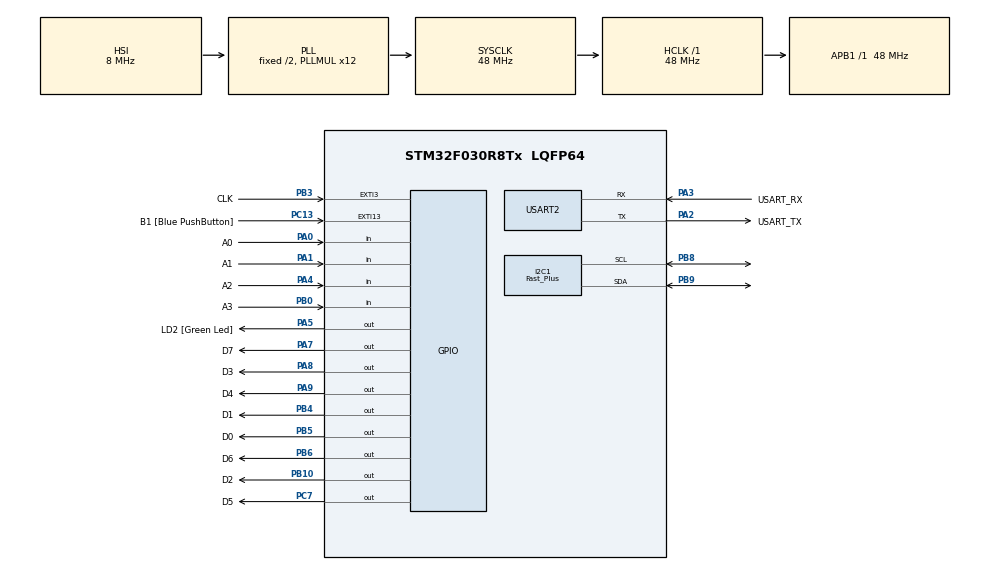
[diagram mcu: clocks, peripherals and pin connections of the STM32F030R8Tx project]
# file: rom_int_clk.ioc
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Mcu.Family=STM32F0
PA2.GPIO_PuPd=GPIO_NOPULL
I2C1.I2C_Speed_Mode=I2C_Fast_Plus
PA14.GPIO_Label=TCK
PA3.GPIO_PuPd=GPIO_NOPULL
PA0.GPIO_Label=A0
PA2.GPIO_Speed=GPIO_SPEED_FREQ_LOW
PB0.GPIO_Label=A3
PB6.GPIO_Label=D6
PC13.GPIO_Label=B1 [Blue PushButton]
PA3.GPIO_Speed=GPIO_SPEED_FREQ_LOW
RCC.SYSCLKSource=RCC_SYSCLKSOURCE_PLLCLK
ProjectManager.StackSize=0x400
RCC.HCLKFreq_Value=48000000
PB6.Signal=GPIO_Output
PC7.Signal=GPIO_Output
RCC.AHBFreq_Value=48000000
USART2.VirtualMode-Asynchronous=VM_ASYNC
RCC.PLLMUL=RCC_PLL_MUL12
PC14-OSC32_IN.Mode=LSE-External-Oscillator
PA14.Mode=Serial_Wire
PA5.GPIO_PuPd=GPIO_NOPULL
PA8.Signal=GPIO_Output
PA0.Signal=GPIO_Input
Mcu.Package=LQFP64
PB9.Signal=I2C1_SDA
PA2.GPIO_Label=USART_TX
PB5.GPIO_Label=D0
RCC.APB1TimFreq_Value=48000000
PA4.GPIO_Label=A2
PF1-OSC_OUT.Signal=RCC_OSC_OUT
PB4.Signal=GPIO_Output
PA3.Signal=USART2_RX
PA2.GPIO_Mode=GPIO_MODE_AF_PP
PB3.GPIO_Label=CLK
PC15-OSC32_OUT.Mode=LSE-External-Oscillator
PC13.Signal=GPXTI13
PA9.GPIO_Label=D4
PC14-OSC32_IN.Signal=RCC_OSC32_IN
PA13.Signal=SYS_SWDIO
PA3.Mode=Asynchronous
PA8.GPIO_Label=D3
ProjectManager.TargetToolchain=STM32CubeIDE
PB10.GPIO_Label=D2
PA3.GPIO_Mode=GPIO_MODE_AF_PP
PB9.Mode=I2C
PA9.Signal=GPIO_Output
I2C1.Timing=0x00000001
PC15-OSC32_OUT.Signal=RCC_OSC32_OUT
PA1.Signal=GPIO_Input
PF0-OSC_IN.Mode=HSE-External-Clock-Source
PB10.Signal=GPIO_Output
PA5.Signal=GPIO_Output
board=NUCLEO-F030R8
NVIC.EXTI2_3_IRQn=true\:0\:0\:false\:false\:true\:true\:true
PB4.GPIO_Label=D1
PA1.GPIO_Label=A1
PA13.Mode=Serial_Wire
Mcu.Name=STM32F030R8Tx
PA13.GPIO_Label=TMS
PA2.Signal=USART2_TX
PC7.GPIO_Label=D5
PB3.Signal=GPXTI3
PA4.Signal=GPIO_Input
RCC.SYSCLKFreq_VALUE=48000000
PB5.Signal=GPIO_Output
PA7.GPIO_Label=D7
PA5.GPIO_Label=LD2 [Green Led]
PC13.GPIO_ModeDefaultEXTI=GPIO_MODE_IT_FALLING
PA14.Signal=SYS_SWCLK
ProjectManager.HeapSize=0x200
PA5.GPIO_Speed=GPIO_SPEED_FREQ_LOW
PB8.Mode=I2C
PA2.Mode=Asynchronous
PB8.Signal=I2C1_SCL
PF0-OSC_IN.Signal=RCC_OSC_IN
RCC.APB1Freq_Value=48000000
PA5.GPIO_Mode=GPIO_MODE_OUTPUT_PP
PB0.Signal=GPIO_Input
PA3.GPIO_Label=USART_RX
PA7.Signal=GPIO_Output

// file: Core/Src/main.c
/* USER CODE BEGIN Header */
/**
  ******************************************************************************
  * @file           : main.c
  * @brief          : Main program body
  ******************************************************************************
  * @attention
  *
  * <h2><center>&copy; Copyright (c) 2021 STMicroelectronics.
  * All rights reserved.</center></h2>
  *
  * This software component is licensed by ST under BSD 3-Clause license,
  * the "License"; You may not use this file except in compliance with the
  * License. You may obtain a copy of the License at:
  *                        opensource.org/licenses/BSD-3-Clause
  *
  ******************************************************************************
  */
/* USER CODE END Header */
#include "main.h"

/* USER CODE BEGIN Includes */
#include <string.h>
#include "td4_rom.h"
#include "PCA9624.h"

/* USER CODE END Includes */

/* USER CODE BEGIN PTD */
typedef uint8_t seg7[7];

/* USER CODE END PTD */

/* USER CODE BEGIN PD */
#define ROM_BASE_ADDRESS    0
#define ROM_DEFAULT_ADDRESS 0

#define I2C_RETRIES         2
#define I2C_TIMEOUT         2

#define LED_PWM_FULL        0xff // PWM = 99.6%
#define LED_PWM_OFF         0    // PWM = 0%
/* USER CODE END PD */

I2C_HandleTypeDef hi2c1;

UART_HandleTypeDef huart2;

/* USER CODE BEGIN PV */
volatile int ticked = 0;
volatile int led_ok = 0;
uint8_t cmd[32];
seg7 hex2seg7[] = { // 0xff は PWM で 99.6% 出力
  { 0xff, 0xff, 0xff, 0xff, 0xff, 0xff, 0x00 }, // 0
  { 0x00, 0xff, 0xff, 0x00, 0x00, 0x00, 0x00 }, // 1
  { 0xff, 0xff, 0x00, 0xff, 0xff, 0x00, 0xff }, // 2
  { 0xff, 0xff, 0xff, 0xff, 0x00, 0x00, 0xff }, // 3
  { 0x00, 0xff, 0xff, 0x00, 0x00, 0xff, 0xff }, // 4
  { 0xff, 0x00, 0xff, 0xff, 0x00, 0xff, 0xff }, // 5
  { 0xff, 0x00, 0xff, 0xff, 0xff, 0xff, 0xff }, // 6
  { 0xff, 0xff, 0xff, 0x00, 0x00, 0x00, 0x00 }, // 7
  { 0xff, 0xff, 0xff, 0xff, 0xff, 0xff, 0xff }, // 8
  { 0xff, 0xff, 0xff, 0xff, 0x00, 0xff, 0xff }, // 9
  { 0xff, 0xff, 0xff, 0xff, 0xff, 0x00, 0xff }, // a
  { 0x00, 0x00, 0xff, 0xff, 0xff, 0xff, 0xff }, // b
  { 0x00, 0x00, 0x00, 0xff, 0xff, 0x00, 0xff }, // c
  { 0x00, 0xff, 0xff, 0xff, 0xff, 0x00, 0xff }, // d
  { 0xff, 0xff, 0x00, 0xff, 0xff, 0xff, 0xff }, // e
  { 0xff, 0x00, 0x00, 0x00, 0xff, 0xff, 0xff }, // f
};

/* USER CODE END PV */

void SystemClock_Config(void);
static void MX_GPIO_Init(void);
static void MX_USART2_UART_Init(void);
static void MX_I2C1_Init(void);

int main(void)
{
  /* USER CODE BEGIN 1 */
  HAL_StatusTypeDef ret;

  /* USER CODE END 1 */

  /* MCU Configuration--------------------------------------------------------*/

  /* Reset of all peripherals, Initializes the Flash interface and the Systick. */
  HAL_Init();

  /* Configure the system clock */
  SystemClock_Config();

  /* Initialize all configured peripherals */
  MX_GPIO_Init();
  MX_USART2_UART_Init();
  MX_I2C1_Init();
  /* USER CODE BEGIN 2 */

  /* PCA9624 */
  ret = HAL_I2C_IsDeviceReady(&hi2c1, PCA9624_ADDR, I2C_RETRIES, I2C_TIMEOUT);
  if (ret == HAL_OK) // PCA9624 から ACK を受信
  {
    cmd[0] = MODE1; // モードレジスタ
    cmd[1] = 0x0;   // SLEEP = 0 で低消費電力モードを解除して通常動作へ
    ret = HAL_I2C_Master_Transmit(&hi2c1, PCA9624_ADDR, cmd, 2, HAL_MAX_DELAY);
    if (ret == HAL_OK)
    {
      cmd[0] = LEDOUT0 + 0x80; // LEDOUT0 オートインクリメント
      cmd[1] = 0xaa;           // LED3,2,1,0 各々の2ビットに 0b10 で PWM点灯を指定
      cmd[2] = 0xaa;           // LED7,6,5,4 各々の2ビットに 0b10 で PWM点灯を指定
      ret = HAL_I2C_Master_Transmit(&hi2c1, PCA9624_ADDR, cmd, 3, HAL_MAX_DELAY);
      if (ret == HAL_OK)
      {
        led_ok = 1; // PCA9624 の初期化完了
      }
    }
  }

  /* USER CODE END 2 */

  /* Infinite loop */
  /* USER CODE BEGIN WHILE */
  while (1)
  {
    static int address = ROM_DEFAULT_ADDRESS;
    /* USER CODE END WHILE */

    /* USER CODE BEGIN 3 */
    if (ticked)
    {
      /* Read demand address for ROM */
      address = ROM_BASE_ADDRESS;
      address += (HAL_GPIO_ReadPin(A0_GPIO_Port, A0_Pin) << 0);
      address += (HAL_GPIO_ReadPin(A1_GPIO_Port, A1_Pin) << 1);
      address += (HAL_GPIO_ReadPin(A2_GPIO_Port, A2_Pin) << 2);
      address += (HAL_GPIO_ReadPin(A3_GPIO_Port, A3_Pin) << 3);
      if (led_ok) // PCA9624
      {
        cmd[0] = PWM0 + 0x80;                  // PWM0 オートインクリメント
        memcpy(&cmd[1], hex2seg7[address], 7); // 7 セグメントの PWM 値を直接設定
        cmd[8] = LED_PWM_FULL;                 // DP は一旦点灯
        ret = HAL_I2C_Master_Transmit(&hi2c1, PCA9624_ADDR, cmd, 9, HAL_MAX_DELAY);
        if (ret != HAL_OK)
        {
          led_ok = 0; // PCA9624 でエラー発生
          // TODO: I2C のリカバリ処理をここで
        }
      }
      ticked = 0;
    }

    /* Update bits of ROM */
    HAL_GPIO_WritePin(D0_GPIO_Port, D0_Pin, rom[address] & 1 << 0);
    HAL_GPIO_WritePin(D1_GPIO_Port, D1_Pin, rom[address] & 1 << 1);
    HAL_GPIO_WritePin(D2_GPIO_Port, D2_Pin, rom[address] & 1 << 2);
    HAL_GPIO_WritePin(D3_GPIO_Port, D3_Pin, rom[address] & 1 << 3);
    HAL_GPIO_WritePin(D4_GPIO_Port, D4_Pin, rom[address] & 1 << 4);
    HAL_GPIO_WritePin(D5_GPIO_Port, D5_Pin, rom[address] & 1 << 5);
    HAL_GPIO_WritePin(D6_GPIO_Port, D6_Pin, rom[address] & 1 << 6);
    HAL_GPIO_WritePin(D7_GPIO_Port, D7_Pin, rom[address] & 1 << 7);
    if (led_ok) // PCA9624
    {
      HAL_Delay(50);        // ちょっとだけ待ってから
      cmd[0] = PWM7;        // DPを
      cmd[1] = LED_PWM_OFF; // 消灯
      ret = HAL_I2C_Master_Transmit(&hi2c1, PCA9624_ADDR, cmd, 2, HAL_MAX_DELAY);
      if (ret != HAL_OK)
      {
        led_ok = 0; // PCA9624 でエラー発生
        // TODO: I2C のリカバリ処理をここで
      }
    }
  }
  /* USER CODE END 3 */
}

void SystemClock_Config(void)
{
  RCC_OscInitTypeDef RCC_OscInitStruct = {0};
  RCC_ClkInitTypeDef RCC_ClkInitStruct = {0};
  RCC_PeriphCLKInitTypeDef PeriphClkInit = {0};

  /** Initializes the RCC Oscillators according to the specified parameters
  * in the RCC_OscInitTypeDef structure.
  */
  RCC_OscInitStruct.OscillatorType = RCC_OSCILLATORTYPE_HSI;
  RCC_OscInitStruct.HSIState = RCC_HSI_ON;
  RCC_OscInitStruct.HSICalibrationValue = RCC_HSICALIBRATION_DEFAULT;
  RCC_OscInitStruct.PLL.PLLState = RCC_PLL_ON;
  RCC_OscInitStruct.PLL.PLLSource = RCC_PLLSOURCE_HSI;
  RCC_OscInitStruct.PLL.PLLMUL = RCC_PLL_MUL12;
  RCC_OscInitStruct.PLL.PREDIV = RCC_PREDIV_DIV1;
  if (HAL_RCC_OscConfig(&RCC_OscInitStruct) != HAL_OK)
  {
    Error_Handler();
  }
  /** Initializes the CPU, AHB and APB buses clocks
  */
  RCC_ClkInitStruct.ClockType = RCC_CLOCKTYPE_HCLK|RCC_CLOCKTYPE_SYSCLK
                              |RCC_CLOCKTYPE_PCLK1;
  RCC_ClkInitStruct.SYSCLKSource = RCC_SYSCLKSOURCE_PLLCLK;
  RCC_ClkInitStruct.AHBCLKDivider = RCC_SYSCLK_DIV1;
  RCC_ClkInitStruct.APB1CLKDivider = RCC_HCLK_DIV1;

  if (HAL_RCC_ClockConfig(&RCC_ClkInitStruct, FLASH_LATENCY_1) != HAL_OK)
  {
    Error_Handler();
  }
  PeriphClkInit.PeriphClockSelection = RCC_PERIPHCLK_I2C1;
  PeriphClkInit.I2c1ClockSelection = RCC_I2C1CLKSOURCE_HSI;
  if (HAL_RCCEx_PeriphCLKConfig(&PeriphClkInit) != HAL_OK)
  {
    Error_Handler();
  }
}

static void MX_I2C1_Init(void)
{

  hi2c1.Instance = I2C1;
  hi2c1.Init.Timing = 0x00000001;
  hi2c1.Init.OwnAddress1 = 0;
  hi2c1.Init.AddressingMode = I2C_ADDRESSINGMODE_7BIT;
  hi2c1.Init.DualAddressMode = I2C_DUALADDRESS_DISABLE;
  hi2c1.Init.OwnAddress2 = 0;
  hi2c1.Init.OwnAddress2Masks = I2C_OA2_NOMASK;
  hi2c1.Init.GeneralCallMode = I2C_GENERALCALL_DISABLE;
  hi2c1.Init.NoStretchMode = I2C_NOSTRETCH_DISABLE;
  if (HAL_I2C_Init(&hi2c1) != HAL_OK)
  {
    Error_Handler();
  }
  /** Configure Analogue filter
  */
  if (HAL_I2CEx_ConfigAnalogFilter(&hi2c1, I2C_ANALOGFILTER_ENABLE) != HAL_OK)
  {
    Error_Handler();
  }
  /** Configure Digital filter
  */
  if (HAL_I2CEx_ConfigDigitalFilter(&hi2c1, 0) != HAL_OK)
  {
    Error_Handler();
  }
  /** I2C Fast mode Plus enable
  */
  __HAL_SYSCFG_FASTMODEPLUS_ENABLE(I2C_FASTMODEPLUS_I2C1);

}

static void MX_USART2_UART_Init(void)
{

  huart2.Instance = USART2;
  huart2.Init.BaudRate = 38400;
  huart2.Init.WordLength = UART_WORDLENGTH_8B;
  huart2.Init.StopBits = UART_STOPBITS_1;
  huart2.Init.Parity = UART_PARITY_NONE;
  huart2.Init.Mode = UART_MODE_TX_RX;
  huart2.Init.HwFlowCtl = UART_HWCONTROL_NONE;
  huart2.Init.OverSampling = UART_OVERSAMPLING_16;
  huart2.Init.OneBitSampling = UART_ONE_BIT_SAMPLE_DISABLE;
  huart2.AdvancedInit.AdvFeatureInit = UART_ADVFEATURE_NO_INIT;
  if (HAL_UART_Init(&huart2) != HAL_OK)
  {
    Error_Handler();
  }

}

static void MX_GPIO_Init(void)
{
  GPIO_InitTypeDef GPIO_InitStruct = {0};

  /* GPIO Ports Clock Enable */
  __HAL_RCC_GPIOC_CLK_ENABLE();
  __HAL_RCC_GPIOF_CLK_ENABLE();
  __HAL_RCC_GPIOA_CLK_ENABLE();
  __HAL_RCC_GPIOB_CLK_ENABLE();

  /*Configure GPIO pin Output Level */
  HAL_GPIO_WritePin(GPIOA, LD2_Pin|D7_Pin|D3_Pin|D4_Pin, GPIO_PIN_RESET);

  /*Configure GPIO pin Output Level */
  HAL_GPIO_WritePin(GPIOB, D2_Pin|D1_Pin|D0_Pin|D6_Pin, GPIO_PIN_RESET);

  /*Configure GPIO pin Output Level */
  HAL_GPIO_WritePin(D5_GPIO_Port, D5_Pin, GPIO_PIN_RESET);

  /*Configure GPIO pin : B1_Pin */
  GPIO_InitStruct.Pin = B1_Pin;
  GPIO_InitStruct.Mode = GPIO_MODE_IT_FALLING;
  GPIO_InitStruct.Pull = GPIO_NOPULL;
  HAL_GPIO_Init(B1_GPIO_Port, &GPIO_InitStruct);

  /*Configure GPIO pins : A0_Pin A1_Pin A2_Pin */
  GPIO_InitStruct.Pin = A0_Pin|A1_Pin|A2_Pin;
  GPIO_InitStruct.Mode = GPIO_MODE_INPUT;
  GPIO_InitStruct.Pull = GPIO_NOPULL;
  HAL_GPIO_Init(GPIOA, &GPIO_InitStruct);

  /*Configure GPIO pins : LD2_Pin D7_Pin D3_Pin D4_Pin */
  GPIO_InitStruct.Pin = LD2_Pin|D7_Pin|D3_Pin|D4_Pin;
  GPIO_InitStruct.Mode = GPIO_MODE_OUTPUT_PP;
  GPIO_InitStruct.Pull = GPIO_NOPULL;
  GPIO_InitStruct.Speed = GPIO_SPEED_FREQ_LOW;
  HAL_GPIO_Init(GPIOA, &GPIO_InitStruct);

  /*Configure GPIO pin : A3_Pin */
  GPIO_InitStruct.Pin = A3_Pin;
  GPIO_InitStruct.Mode = GPIO_MODE_INPUT;
  GPIO_InitStruct.Pull = GPIO_NOPULL;
  HAL_GPIO_Init(A3_GPIO_Port, &GPIO_InitStruct);

  /*Configure GPIO pins : D2_Pin D1_Pin D0_Pin D6_Pin */
  GPIO_InitStruct.Pin = D2_Pin|D1_Pin|D0_Pin|D6_Pin;
  GPIO_InitStruct.Mode = GPIO_MODE_OUTPUT_PP;
  GPIO_InitStruct.Pull = GPIO_NOPULL;
  GPIO_InitStruct.Speed = GPIO_SPEED_FREQ_LOW;
  HAL_GPIO_Init(GPIOB, &GPIO_InitStruct);

  /*Configure GPIO pin : D5_Pin */
  GPIO_InitStruct.Pin = D5_Pin;
  GPIO_InitStruct.Mode = GPIO_MODE_OUTPUT_PP;
  GPIO_InitStruct.Pull = GPIO_NOPULL;
  GPIO_InitStruct.Speed = GPIO_SPEED_FREQ_LOW;
  HAL_GPIO_Init(D5_GPIO_Port, &GPIO_InitStruct);

  /*Configure GPIO pin : CLK_Pin */
  GPIO_InitStruct.Pin = CLK_Pin;
  GPIO_InitStruct.Mode = GPIO_MODE_IT_RISING;
  GPIO_InitStruct.Pull = GPIO_NOPULL;
  HAL_GPIO_Init(CLK_GPIO_Port, &GPIO_InitStruct);

  /* EXTI interrupt init*/
  HAL_NVIC_SetPriority(EXTI2_3_IRQn, 0, 0);
  HAL_NVIC_EnableIRQ(EXTI2_3_IRQn);

}

/* USER CODE BEGIN 4 */
void HAL_GPIO_EXTI_Callback(uint16_t GPIO_Pin)
{
  if (GPIO_Pin == CLK_Pin)
  {
    ticked = 1;
  }
}

/* USER CODE END 4 */

void Error_Handler(void)
{
  __disable_irq();
  while (1)
  {
  }
}

/************************ (C) COPYRIGHT STMicroelectronics *****END OF FILE****/
